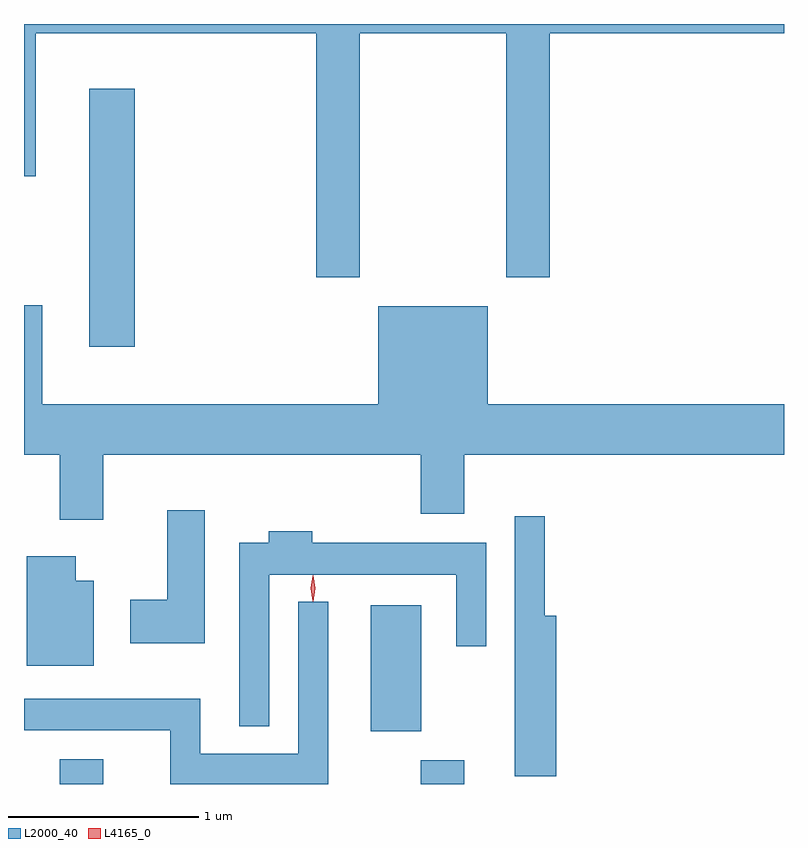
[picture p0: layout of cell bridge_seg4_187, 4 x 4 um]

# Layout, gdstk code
import gdstk
lib = gdstk.Library(unit=1e-6, precision=1e-09)
def R(c, l, rs):  # rectangles x0, y0, x1, y1
    for r in rs: c.add(gdstk.rectangle(r[:2], r[2:], *l))
def P(c, l, *ps):  # polygons
    for p in ps: c.add(gdstk.Polygon(p, *l))
L2000_40 = (2000, 40)
L4165_0 = (4165, 0)

bridge_seg4_187 = lib.new_cell('bridge_seg4_187')
R(bridge_seg4_187, L2000_40, [(983.221,1315.204,983.449,1315.334), (985.121,1315.204,985.349,1315.329), (984.856,1315.481,985.124,1316.144), (983.376,1317.506,983.614,1318.864)])
P(bridge_seg4_187, L2000_40, [(984.799,1319.156),(985.571,1319.156),(985.571,1317.871),(985.799,1317.871),(985.799,1319.156),(987.032,1319.156),(987.032,1319.204),(983.032,1319.204),(983.032,1318.403),(983.094,1318.403),(983.094,1319.156),(984.571,1319.156),(984.571,1317.871),(984.799,1317.871)],
  [(983.449,1316.936),(985.121,1316.936),(985.121,1316.626),(985.349,1316.626),(985.349,1316.936),(987.032,1316.936),(987.032,1317.204),(985.474,1317.204),(985.474,1317.719),(984.896,1317.719),(984.896,1317.204),(983.129,1317.204),(983.129,1317.724),(983.032,1317.724),(983.032,1316.936),(983.221,1316.936),(983.221,1316.596),(983.449,1316.596)],
  [(983.984,1316.644),(983.786,1316.644),(983.786,1316.174),(983.591,1316.174),(983.591,1315.946),(983.984,1315.946)],
  [(985.834,1316.089),(985.774,1316.089),(985.774,1316.613),(985.616,1316.613),(985.616,1315.246),(985.834,1315.246)],
  [(984.324,1316.306),(985.306,1316.306),(985.306,1315.928),(985.464,1315.928),(985.464,1316.474),(984.549,1316.474),(984.549,1316.534),(984.321,1316.534),(984.321,1316.474),(984.166,1316.474),(984.166,1315.508),(984.324,1315.508)],
  [(983.399,1316.274),(983.304,1316.274),(983.304,1316.404),(983.046,1316.404),(983.046,1315.826),(983.399,1315.826)],
  [(984.634,1316.163),(984.476,1316.163),(984.476,1315.364),(983.959,1315.364),(983.959,1315.654),(983.032,1315.654),(983.032,1315.486),(983.801,1315.486),(983.801,1315.204),(984.634,1315.204)])
P(bridge_seg4_187, L4165_0, [(984.551,1316.167),(984.542,1316.234),(984.551,1316.3),(984.552,1316.301),(984.552,1316.3),(984.562,1316.234),(984.552,1316.167),(984.552,1316.167)],
  [(984.554,1316.164),(984.545,1316.233),(984.554,1316.302),(984.555,1316.303),(984.555,1316.302),(984.565,1316.233),(984.555,1316.164),(984.555,1316.164)])

lib.write_gds('bridge_seg4_187.gds')
